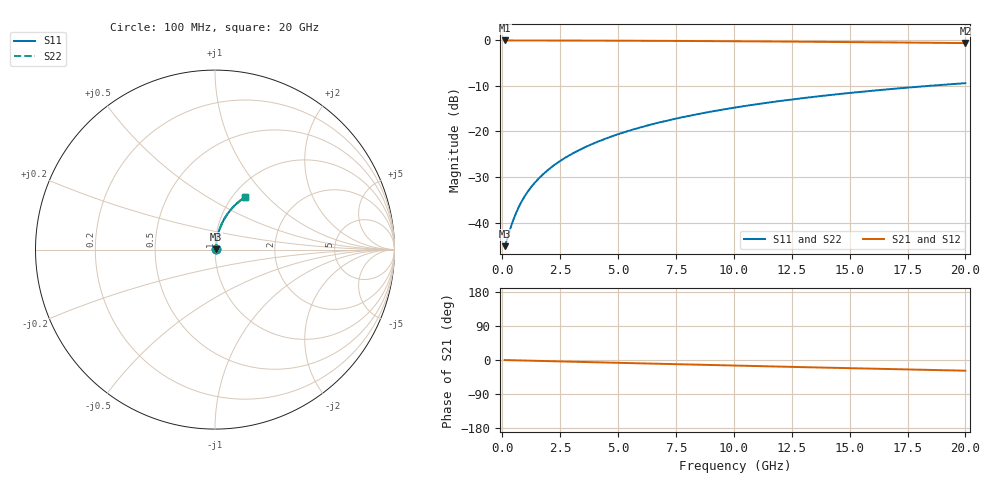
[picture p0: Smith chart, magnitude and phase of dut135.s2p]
! Touchstone file exported from HFSS 2026.1.0
!  File:  C:/ffzhzh/LocalFiles/Ansys_Project_Files/temp_train_BSMRDL_135_1782986286_41620.aedt
!  Generated:  05:59:28 PM Jul  2, 2026
!  Design:  BSMRDL
!  Project:  temp_train_BSMRDL_135_1782986286_41620
! Variables:
!  h_bsmrdl = 2.2um
!  h_ox = 20um
!  h_rdl = 5um
!  h_sub = 80um
!  h_tmrdl = 5um
!  h_tsv = 80um
!  h_via = 3um
!  l_bsmrdl = 337.29um
!  l_sub = 737.29um
!  l_tmrdl = 200um
!  m_sub = 200um
!  pitch = 38.18um
!  r_tsv = 6um
!  s_tmrdl = 10um
!  w_bsmrdl = 10.9um
!  w_sub = 500um
!  w_tmrdl = 12um
!  x_tsv_center1 = 206um
!  x_tsv_center2 = 554.19um
!  x_tsv_center3 = 766.19um
!  x_tsv_center4 = 1114.38um
!  x_tsv_center5 = 1326.38um
!  x_tsv_center6 = 1674.57um
# GHz S MA R 50.000000
! Terminal data exported
! Port[1] = BSM_RDL1_1_T1
! Port[2] = BSM_RDL1_1_T2
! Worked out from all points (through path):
!   200 points, 100 MHz to 20 GHz, reference 50 ohm
!   highest |S21| = -0.04 dB at 100 MHz (marker M1); lowest = -0.6 dB at 20 GHz (marker M2)
!   group delay of S21, straight-line fit = 3.93 ps
!   lowest |S11| = -45.2 dB at 100 MHz (marker M3), VSWR 1.01, Z = 50.5 + j0.197 ohm
!   |S11| at or under -10 dB: start of sweep to 18.45 GHz
!   |S22| runs from -45.2 to -9.4 dB; largest |S21 - S12| = 4.1e-15
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0.1  0.00551 20.7  0.9949 -0.2  0.9949 -0.2  0.00551 20.7
! Gamma 0 0 0 0
! Port Impedance 50 0 50 0
0.2  0.006492 36.9  0.9948 -0.3  0.9948 -0.3  0.006492 36.9
0.4  0.009421 55.4  0.9947 -0.6  0.9947 -0.6  0.009421 55.4
0.5  0.0111 60.6  0.9946 -0.8  0.9946 -0.8  0.0111 60.6
0.7  0.01461 67.0  0.9945 -1.1  0.9945 -1.1  0.01461 67.0
0.8  0.0164 69.2  0.9944 -1.2  0.9944 -1.2  0.0164 69.2
1  0.02002 72.2  0.9942 -1.5  0.9942 -1.5  0.02002 72.2
1.3  0.02547 74.9  0.9939 -2.0  0.9939 -2.0  0.02547 74.9
1.7  0.03276 77.0  0.9936 -2.6  0.9936 -2.6  0.03276 77.0
2.2  0.04191 78.4  0.9931 -3.3  0.9931 -3.3  0.04191 78.4
2.8  0.0529 79.1  0.9924 -4.2  0.9924 -4.2  0.0529 79.1
3.5  0.06574 79.3  0.9915 -5.2  0.9915 -5.2  0.06574 79.3
4.2  0.07856 79.0  0.9905 -6.2  0.9905 -6.2  0.07856 79.0
5  0.09315 78.5  0.9891 -7.4  0.9891 -7.4  0.09315 78.5
5.9  0.1095 77.7  0.9872 -8.7  0.9872 -8.7  0.1095 77.7
6.8  0.1257 76.8  0.9851 -10.1  0.9851 -10.1  0.1257 76.8
8.3  0.1523 75.0  0.981 -12.2  0.981 -12.2  0.1523 75.0
10.1  0.1836 72.8  0.9752 -14.8  0.9752 -14.8  0.1836 72.8
11.7  0.2106 70.7  0.9693 -17.1  0.9693 -17.1  0.2106 70.7
13.4  0.2386 68.5  0.9624 -19.4  0.9624 -19.4  0.2386 68.5
16.7  0.2903 64.2  0.9473 -23.9  0.9473 -23.9  0.2903 64.2
20  0.3383 60.0  0.9306 -28.2  0.9306 -28.2  0.3383 60.0
